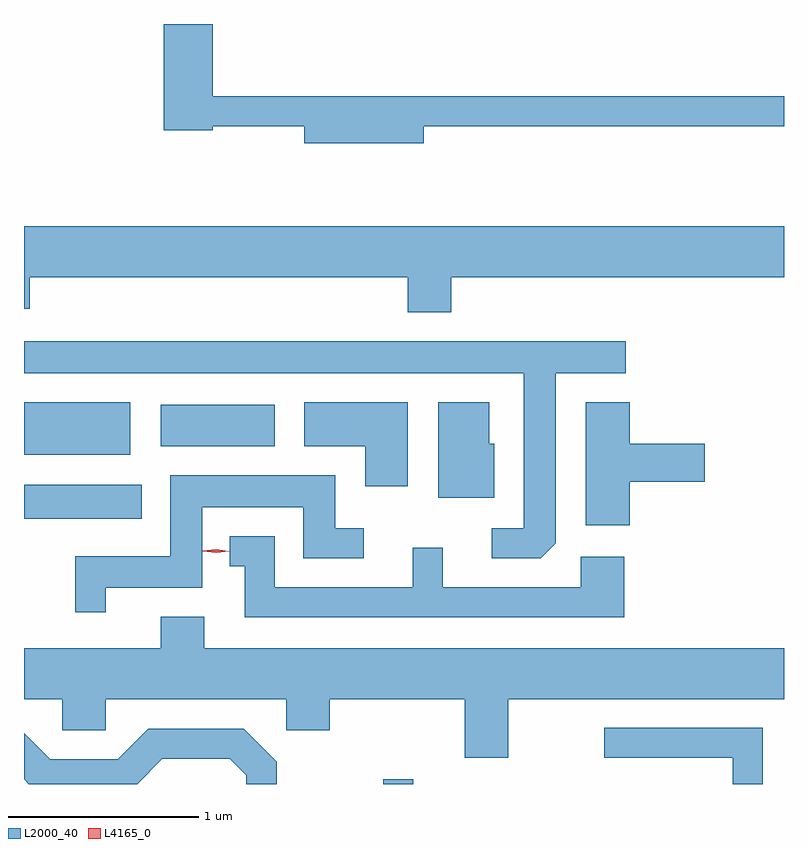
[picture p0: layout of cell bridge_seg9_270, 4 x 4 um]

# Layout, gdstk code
import gdstk
lib = gdstk.Library(unit=1e-6, precision=1e-09)
def R(c, l, rs):  # rectangles x0, y0, x1, y1
    for r in rs: c.add(gdstk.rectangle(r[:2], r[2:], *l))
def P(c, l, *ps):  # polygons
    for p in ps: c.add(gdstk.Polygon(p, *l))
L2000_40 = (2000, 40)
L4165_0 = (4165, 0)

bridge_seg9_270 = lib.new_cell('bridge_seg9_270')
R(bridge_seg9_270, L2000_40, [(1021.541,2042.429,1021.699,2042.453), (1019.65,2043.826,1020.269,2044.004), (1019.65,2044.161,1020.209,2044.439), (1020.371,2044.206,1020.969,2044.424)])
P(bridge_seg9_270, L2000_40, [(1021.754,2045.891),(1023.65,2045.891),(1023.65,2046.049),(1020.644,2046.049),(1020.644,2046.429),(1020.386,2046.429),(1020.386,2045.871),(1020.644,2045.871),(1020.644,2045.891),(1021.126,2045.891),(1021.126,2045.801),(1021.754,2045.801)],
  [(1021.899,2045.096),(1023.65,2045.096),(1023.65,2045.364),(1019.65,2045.364),(1019.65,2044.931),(1019.679,2044.931),(1019.679,2045.096),(1021.671,2045.096),(1021.671,2044.911),(1021.899,2044.911)],
  [(1022.449,2043.697),(1022.449,2044.591),(1022.818,2044.591),(1022.818,2044.759),(1019.65,2044.759),(1019.65,2044.591),(1022.281,2044.591),(1022.281,2043.774),(1022.113,2043.774),(1022.113,2043.616),(1022.369,2043.616)],
  [(1021.669,2044.439),(1021.126,2044.439),(1021.126,2044.206),(1021.446,2044.206),(1021.446,2043.996),(1021.669,2043.996)],
  [(1022.839,2044.021),(1023.234,2044.021),(1023.234,2044.219),(1022.839,2044.219),(1022.839,2044.439),(1022.606,2044.439),(1022.606,2043.791),(1022.839,2043.791)],
  [(1022.124,2044.219),(1022.099,2044.219),(1022.099,2044.439),(1021.831,2044.439),(1021.831,2043.936),(1022.124,2043.936)],
  [(1020.079,2043.461),(1020.589,2043.461),(1020.589,2043.886),(1021.121,2043.886),(1021.121,2043.616),(1021.438,2043.616),(1021.438,2043.774),(1021.289,2043.774),(1021.289,2044.054),(1020.421,2044.054),(1020.421,2043.629),(1019.921,2043.629),(1019.921,2043.333),(1020.079,2043.333)],
  [(1022.809,2043.624),(1022.581,2043.624),(1022.581,2043.464),(1021.854,2043.464),(1021.854,2043.673),(1021.696,2043.673),(1021.696,2043.464),(1020.969,2043.464),(1020.969,2043.734),(1020.733,2043.734),(1020.733,2043.576),(1020.811,2043.576),(1020.811,2043.306),(1022.809,2043.306)],
  [(1022.199,2042.876),(1023.65,2042.876),(1023.65,2043.144),(1020.599,2043.144),(1020.599,2043.309),(1020.371,2043.309),(1020.371,2043.144),(1019.65,2043.144),(1019.65,2042.876),(1019.851,2042.876),(1019.851,2042.711),(1020.079,2042.711),(1020.079,2042.876),(1021.031,2042.876),(1021.031,2042.711),(1021.259,2042.711),(1021.259,2042.876),(1021.971,2042.876),(1021.971,2042.566),(1022.199,2042.566)],
  [(1023.539,2042.724),(1022.703,2042.724),(1022.703,2042.566),(1023.381,2042.566),(1023.381,2042.429),(1023.539,2042.429)],
  [(1020.377,2042.561),(1020.734,2042.561),(1020.821,2042.474),(1020.821,2042.429),(1020.979,2042.429),(1020.979,2042.547),(1020.807,2042.719),(1020.304,2042.719),(1020.144,2042.559),(1019.787,2042.559),(1019.65,2042.696),(1019.65,2042.455),(1019.676,2042.429),(1020.245,2042.429)])
P(bridge_seg9_270, L4165_0, [(1020.661,2043.645),(1020.592,2043.655),(1020.592,2043.656),(1020.592,2043.656),(1020.661,2043.665),(1020.731,2043.655),(1020.731,2043.655),(1020.731,2043.654)])

lib.write_gds('bridge_seg9_270.gds')
